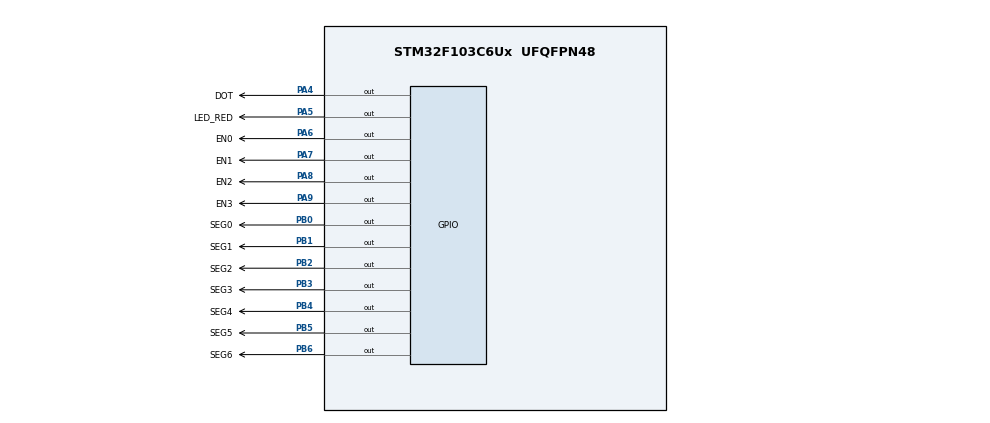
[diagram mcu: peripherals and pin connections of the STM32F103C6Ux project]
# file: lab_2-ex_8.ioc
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Mcu.Family=STM32F1
Mcu.Name=STM32F103C6Ux
Mcu.Package=UFQFPN48
NVIC.PriorityGroup=NVIC_PRIORITYGROUP_4
NVIC.TIM2_IRQn=true\:0\:0\:false\:false\:true\:true\:true
PA4.GPIO_Label=DOT
PA4.Signal=GPIO_Output
PA5.GPIO_Label=LED_RED
PA5.Signal=GPIO_Output
PA6.GPIO_Label=EN0
PA6.Signal=GPIO_Output
PA7.GPIO_Label=EN1
PA7.Signal=GPIO_Output
PA8.GPIO_Label=EN2
PA8.Signal=GPIO_Output
PA9.GPIO_Label=EN3
PA9.Signal=GPIO_Output
PB0.GPIO_Label=SEG0
PB0.Signal=GPIO_Output
PB1.GPIO_Label=SEG1
PB1.Signal=GPIO_Output
PB2.GPIO_Label=SEG2
PB2.Signal=GPIO_Output
PB3.GPIO_Label=SEG3
PB3.Signal=GPIO_Output
PB4.GPIO_Label=SEG4
PB4.Signal=GPIO_Output
PB5.GPIO_Label=SEG5
PB5.Signal=GPIO_Output
PB6.GPIO_Label=SEG6
PB6.Signal=GPIO_Output
ProjectManager.HeapSize=0x200
ProjectManager.StackSize=0x400
ProjectManager.TargetToolchain=STM32CubeIDE
RCC.APB1Freq_Value=8000000
RCC.APB2Freq_Value=8000000
TIM2.Period=9
TIM2.Prescaler=7999
VP_SYS_VS_ND.Mode=No_Debug
VP_TIM2_VS_ClockSourceINT.Mode=Internal
board=custom

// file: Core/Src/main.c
/* USER CODE BEGIN Header */
/**
  ******************************************************************************
  * @file           : main.c
  * @brief          : Main program body
  ******************************************************************************
  * @attention
  *
  * <h2><center>&copy; Copyright (c) 2022 STMicroelectronics.
  * All rights reserved.</center></h2>
  *
  * This software component is licensed by ST under BSD 3-Clause license,
  * the "License"; You may not use this file except in compliance with the
  * License. You may obtain a copy of the License at:
  *                        opensource.org/licenses/BSD-3-Clause
  *
  ******************************************************************************
  */
/* USER CODE END Header */
#include "main.h"

TIM_HandleTypeDef htim2;

void SystemClock_Config(void);
static void MX_GPIO_Init(void);
static void MX_TIM2_Init(void);

/* USER CODE BEGIN 0 */
int hour = 15, minute = 8, second = 50;
void updateClockBuffer();
int timer0_counter = 0;
int timer0_flag = 0;
int TIMER_CYCLE = 10;
void setTimer0(int duration){
	timer0_counter = duration /TIMER_CYCLE;
	timer0_flag = 0;
}
int timer1_counter = 0;
int timer1_flag = 0;
void setTimer1(int duration){
	timer1_counter = duration /TIMER_CYCLE;
	timer1_flag = 0;
}
void timer_run(){
	if(timer0_counter > 0){
		timer0_counter--;
		if(timer0_counter == 0) timer0_flag = 1;
	}
	if(timer1_counter > 0){
		timer1_counter--;
		if(timer1_counter == 0) timer1_flag = 1;
	}
}
/* USER CODE END 0 */

int main(void)
{
  /* USER CODE BEGIN 1 */
	const int MAX_LED = 4;
	int index_led = 1;
	int led_buffer[4] = {0, 5, 7, 8};
	int flag_start = 0;
	unsigned char num[] = {0x40, 0x79, 0x24, 0x30, 0x19, 0x12, 0x02, 0x78, 0x00, 0x10};

	void updateClockBuffer(){
		//Hour
		  if(hour < 10){
			  led_buffer[0] = 0;
			  led_buffer[1] = hour;
		  } else if(hour < 20 && hour >= 10){
			  led_buffer[0] = 1;
			  led_buffer[1] = hour - 10;
		  } else {
			  led_buffer[0] = 2;
			  led_buffer[2] = hour - 20;
		  }
		 //Minute
		  if(minute < 10){
			  led_buffer[2] = 0;
			  led_buffer[3] = minute;
		  } else if(minute < 20 && minute >= 10){
			  led_buffer[2] = 1;
			  led_buffer[3] = minute - 10;
		  } else if(minute < 30 && minute >= 20){
			  led_buffer[2] = 2;
			  led_buffer[3] = minute - 20;
		  } else if(minute < 40 && minute >= 30){
			  led_buffer[2] = 3;
			  led_buffer[3] = minute - 30;
		  }else if(minute < 50 && minute >= 40){
			  led_buffer[2] = 4;
			  led_buffer[3] = minute - 40;
		  }else{
			  led_buffer[2] = 5;
			  led_buffer[3] = minute - 50;
		  }
	}

	void update7SEG(int index){
		updateClockBuffer();
		HAL_GPIO_WritePin ( EN0_GPIO_Port, EN0_Pin , SET );
		HAL_GPIO_WritePin ( EN1_GPIO_Port, EN1_Pin , SET );
		HAL_GPIO_WritePin ( EN2_GPIO_Port, EN2_Pin , SET );
		HAL_GPIO_WritePin ( EN3_GPIO_Port, EN3_Pin , SET );
	    switch (index){
	        case 0:
	            //Display the first 7SEG with led_buffer[0]
	        	GPIOB->ODR = num[led_buffer[0]];
	        	HAL_GPIO_WritePin ( EN0_GPIO_Port, EN0_Pin , RESET );
	            break;
	        case 1:
	            //Display the second 7SEG with led_buffer[1]
	        	GPIOB->ODR = num[led_buffer[1]];
	        	HAL_GPIO_WritePin ( EN1_GPIO_Port, EN1_Pin , RESET );
	            break;
	        case 2:
	            //Display the third 7SEG with led_buffer[2]
	        	GPIOB->ODR = num[led_buffer[2]];
	        	HAL_GPIO_WritePin ( EN2_GPIO_Port, EN2_Pin , RESET );
	            break;
	        case 3:
	            //Display the forth 7SEG with led_buffer[3]
	        	GPIOB->ODR = num[led_buffer[3]];
	        	HAL_GPIO_WritePin ( EN3_GPIO_Port, EN3_Pin , RESET );
	            break;
	        default:
	            break;
	    }
	}

  /* USER CODE END 1 */

  /* MCU Configuration--------------------------------------------------------*/

  /* Reset of all peripherals, Initializes the Flash interface and the Systick. */
  HAL_Init();

  /* Configure the system clock */
  SystemClock_Config();

  /* Initialize all configured peripherals */
  MX_GPIO_Init();
  MX_TIM2_Init();
  /* USER CODE BEGIN 2 */
  HAL_TIM_Base_Start_IT(&htim2);

  /* USER CODE END 2 */

  /* Infinite loop */
  /* USER CODE BEGIN WHILE */
  setTimer0(1000);
  setTimer1(500);
  while (1)
  {
	  if(flag_start == 0){
		  update7SEG(0);
		  flag_start = 1;
	  }
	  if (timer0_flag == 1) {
	  		  second++;
	  		  if (second >= 60) {
	  			  second = 0;
	  			  minute++;
	  		  }
	  		  if(minute >= 60) {
	  			  minute = 0;
	  			  hour++;
	  		  }
	  		  if(hour >=24){
	  			  hour = 0;
	  		  }
	  		  updateClockBuffer();
	  		  HAL_GPIO_TogglePin(DOT_GPIO_Port, DOT_Pin);
	  		  HAL_GPIO_TogglePin(LED_RED_GPIO_Port, LED_RED_Pin);
	  		  setTimer0(1000);
	  	  }
	  	  if (timer1_flag == 1) {
	  		  update7SEG(index_led);
	  		  index_led++;
	  		  if(index_led == MAX_LED) index_led = 0;
	  		  setTimer1(500);
	  	  }
    /* USER CODE END WHILE */

  }
}

void SystemClock_Config(void)
{
  RCC_OscInitTypeDef RCC_OscInitStruct = {0};
  RCC_ClkInitTypeDef RCC_ClkInitStruct = {0};

  /** Initializes the RCC Oscillators according to the specified parameters
  * in the RCC_OscInitTypeDef structure.
  */
  RCC_OscInitStruct.OscillatorType = RCC_OSCILLATORTYPE_HSI;
  RCC_OscInitStruct.HSIState = RCC_HSI_ON;
  RCC_OscInitStruct.HSICalibrationValue = RCC_HSICALIBRATION_DEFAULT;
  RCC_OscInitStruct.PLL.PLLState = RCC_PLL_NONE;
  if (HAL_RCC_OscConfig(&RCC_OscInitStruct) != HAL_OK)
  {
    Error_Handler();
  }
  /** Initializes the CPU, AHB and APB buses clocks
  */
  RCC_ClkInitStruct.ClockType = RCC_CLOCKTYPE_HCLK|RCC_CLOCKTYPE_SYSCLK
                              |RCC_CLOCKTYPE_PCLK1|RCC_CLOCKTYPE_PCLK2;
  RCC_ClkInitStruct.SYSCLKSource = RCC_SYSCLKSOURCE_HSI;
  RCC_ClkInitStruct.AHBCLKDivider = RCC_SYSCLK_DIV1;
  RCC_ClkInitStruct.APB1CLKDivider = RCC_HCLK_DIV1;
  RCC_ClkInitStruct.APB2CLKDivider = RCC_HCLK_DIV1;

  if (HAL_RCC_ClockConfig(&RCC_ClkInitStruct, FLASH_LATENCY_0) != HAL_OK)
  {
    Error_Handler();
  }
}

static void MX_TIM2_Init(void)
{

  TIM_ClockConfigTypeDef sClockSourceConfig = {0};
  TIM_MasterConfigTypeDef sMasterConfig = {0};

  htim2.Instance = TIM2;
  htim2.Init.Prescaler = 7999;
  htim2.Init.CounterMode = TIM_COUNTERMODE_UP;
  htim2.Init.Period = 9;
  htim2.Init.ClockDivision = TIM_CLOCKDIVISION_DIV1;
  htim2.Init.AutoReloadPreload = TIM_AUTORELOAD_PRELOAD_DISABLE;
  if (HAL_TIM_Base_Init(&htim2) != HAL_OK)
  {
    Error_Handler();
  }
  sClockSourceConfig.ClockSource = TIM_CLOCKSOURCE_INTERNAL;
  if (HAL_TIM_ConfigClockSource(&htim2, &sClockSourceConfig) != HAL_OK)
  {
    Error_Handler();
  }
  sMasterConfig.MasterOutputTrigger = TIM_TRGO_RESET;
  sMasterConfig.MasterSlaveMode = TIM_MASTERSLAVEMODE_DISABLE;
  if (HAL_TIMEx_MasterConfigSynchronization(&htim2, &sMasterConfig) != HAL_OK)
  {
    Error_Handler();
  }

}

static void MX_GPIO_Init(void)
{
  GPIO_InitTypeDef GPIO_InitStruct = {0};

  /* GPIO Ports Clock Enable */
  __HAL_RCC_GPIOA_CLK_ENABLE();
  __HAL_RCC_GPIOB_CLK_ENABLE();

  /*Configure GPIO pin Output Level */
  HAL_GPIO_WritePin(GPIOA, DOT_Pin|LED_RED_Pin|EN0_Pin|EN1_Pin
                          |EN2_Pin|EN3_Pin, GPIO_PIN_RESET);

  /*Configure GPIO pin Output Level */
  HAL_GPIO_WritePin(GPIOB, SEG0_Pin|SEG1_Pin|SEG2_Pin|SEG3_Pin
                          |SEG4_Pin|SEG5_Pin|SEG6_Pin, GPIO_PIN_RESET);

  /*Configure GPIO pins : DOT_Pin LED_RED_Pin EN0_Pin EN1_Pin
                           EN2_Pin EN3_Pin */
  GPIO_InitStruct.Pin = DOT_Pin|LED_RED_Pin|EN0_Pin|EN1_Pin
                          |EN2_Pin|EN3_Pin;
  GPIO_InitStruct.Mode = GPIO_MODE_OUTPUT_PP;
  GPIO_InitStruct.Pull = GPIO_NOPULL;
  GPIO_InitStruct.Speed = GPIO_SPEED_FREQ_LOW;
  HAL_GPIO_Init(GPIOA, &GPIO_InitStruct);

  /*Configure GPIO pins : SEG0_Pin SEG1_Pin SEG2_Pin SEG3_Pin
                           SEG4_Pin SEG5_Pin SEG6_Pin */
  GPIO_InitStruct.Pin = SEG0_Pin|SEG1_Pin|SEG2_Pin|SEG3_Pin
                          |SEG4_Pin|SEG5_Pin|SEG6_Pin;
  GPIO_InitStruct.Mode = GPIO_MODE_OUTPUT_PP;
  GPIO_InitStruct.Pull = GPIO_NOPULL;
  GPIO_InitStruct.Speed = GPIO_SPEED_FREQ_LOW;
  HAL_GPIO_Init(GPIOB, &GPIO_InitStruct);

}

/* USER CODE BEGIN 4 */
//const int MAX_LED = 4;
//int index_led = 0;
//int led_buffer[4] = {0, 5, 7, 8};
//unsigned char num[] = {0x40, 0x79, 0x24, 0x30, 0x19, 0x12, 0x02, 0x78, 0x00, 0x10};
//
//void update7SEG(int index){
//	updateClockBuffer();
//	HAL_GPIO_WritePin ( EN0_GPIO_Port, EN0_Pin , SET );
//	HAL_GPIO_WritePin ( EN1_GPIO_Port, EN1_Pin , SET );
//	HAL_GPIO_WritePin ( EN2_GPIO_Port, EN2_Pin , SET );
//	HAL_GPIO_WritePin ( EN3_GPIO_Port, EN3_Pin , SET );
//    switch (index){
//        case 0:
//            //Display the first 7SEG with led_buffer[0]
//        	GPIOB->ODR = num[led_buffer[0]];
//        	HAL_GPIO_WritePin ( EN0_GPIO_Port, EN0_Pin , RESET );
//            break;
//        case 1:
//            //Display the second 7SEG with led_buffer[1]
//        	GPIOB->ODR = num[led_buffer[1]];
//        	HAL_GPIO_WritePin ( EN1_GPIO_Port, EN1_Pin , RESET );
//            break;
//        case 2:
//            //Display the third 7SEG with led_buffer[2]
//        	GPIOB->ODR = num[led_buffer[2]];
//        	HAL_GPIO_WritePin ( EN2_GPIO_Port, EN2_Pin , RESET );
//            break;
//        case 3:
//            //Display the forth 7SEG with led_buffer[3]
//        	GPIOB->ODR = num[led_buffer[3]];
//        	HAL_GPIO_WritePin ( EN3_GPIO_Port, EN3_Pin , RESET );
//            break;
//        default:
//            break;
//    }
//}

//int timer_flag = 50;
//int DOT_point = 0;
void HAL_TIM_PeriodElapsedCallback(TIM_HandleTypeDef *htim){
	timer_run();

	//YOUR OTHER CODE
//	if(timer_flag > 0){
//		if(timer_flag == 50){
//			//TO DO
//			update7SEG(index_led);
//			index_led++;
//			if(index_led > 3){
//				index_led = 0;
//			}
//		}
//		timer_flag--;
//		if(timer_flag == 0){
//			timer_flag = 50;
//			HAL_GPIO_TogglePin(LED_RED_GPIO_Port, LED_RED_Pin);
//		}
//	}
}

/* USER CODE END 4 */

void Error_Handler(void)
{
  __disable_irq();
  while (1)
  {
  }
}

/************************ (C) COPYRIGHT STMicroelectronics *****END OF FILE****/
